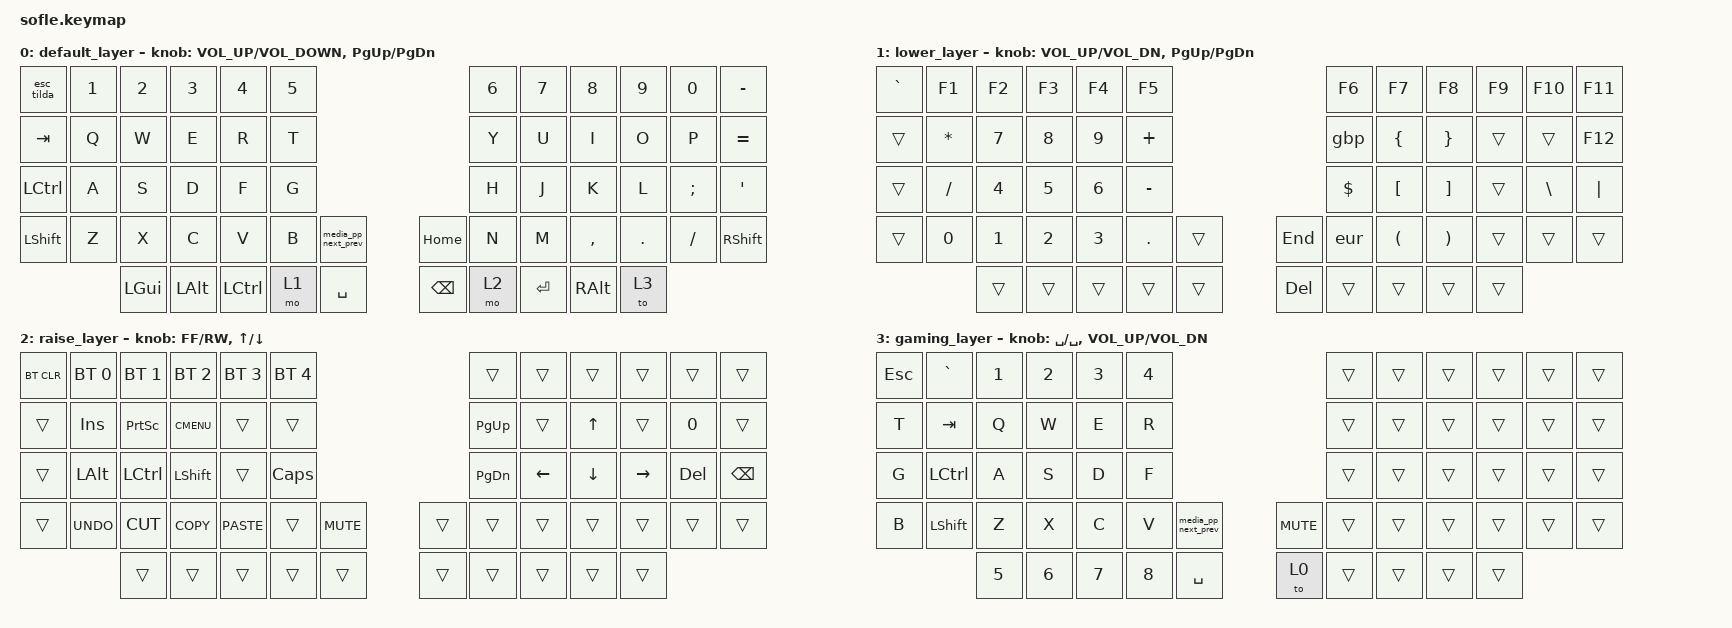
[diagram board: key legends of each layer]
#include <behaviors.dtsi>
#include <dt-bindings/zmk/bt.h>
#include <dt-bindings/zmk/keys.h>

#define BASE 0
#define LOWER 1
#define RAISE 2
#define GAMING_LAYER 3

/ {
    behaviors {
        media_pp_next_prev: media_pp_next_prev {
            compatible = "zmk,behavior-tap-dance";
            label = "MEDIA_PP_NEXT_PREV";
            #binding-cells = <0>;
            bindings = <&kp C_PP>, <&kp C_NEXT>, <&kp C_PREV>;
        };

        esc_tilda: esc_tilda {
            compatible = "zmk,behavior-mod-morph";
            label = "ESC_TILDA";
            bindings = <&kp ESC>, <&kp TILDE>;

            #binding-cells = <0>;
            mods = <(MOD_LSFT)>;
        };
    };

    combos {
        compatible = "zmk,combos";

        ALTF4 {
            bindings = <&kp LA(F4)>;
            key-positions = <0 51 0>;
        };
    };

    macros {
        gbp: gbp {
            compatible = "zmk,behavior-macro";
            #binding-cells = <0>;
            bindings =
                <&macro_press>,
                <&kp LALT>,
                <&macro_tap>,
                <&kp KP_N1 &kp KP_N5 &kp KP_N6>,
                <&macro_release>,
                <&kp LALT>;

            label = "GBP";
            wait-ms = <0>;
        };

        eur: eur {
            compatible = "zmk,behavior-macro";
            #binding-cells = <0>;
            bindings =
                <&macro_press>,
                <&kp LALT>,
                <&macro_tap>,
                <&kp KP_N0 &kp KP_NUMBER_1 &kp KP_NUMBER_2 &kp KP_N8>,
                <&macro_release>,
                <&kp LALT>;

            label = "EUR";
        };
    };

    keymap {
        compatible = "zmk,keymap";

        default_layer {
            // ------------------------------------------------------------------------------------------------------------
            // | ESC/~ |  1  |  2  |  3   |  4   |  5   |                   |  6   |  7    |  8    |  9   |   0   |   -   |
            // |  TAB  |  Q  |  W  |  E   |  R   |  T   |                   |  Y   |  U    |  I    |  O   |   P   |   =   |
            // | LCTRL |  A  |  S  |  D   |  F   |  G   |                   |  H   |  J    |  K    |  L   |   ;   |   '   |
            // | SHIFT |  Z  |  X  |  C   |  V   |  B   |  MEDIA |  | HOME  |  N   |  M    |  ,    |  .   |   /   | SHIFT |
            //               | GUI | ALT  | CTRL | LOWER|  SPACE |  | BKSPC | RAISE| ENTER | ALT   |GAMING|

            bindings = <
&esc_tilda  &kp N1  &kp N2    &kp N3    &kp N4     &kp N5                                   &kp N6  &kp N7   &kp N8     &kp N9   &kp N0    &kp MINUS
&kp TAB     &kp Q   &kp W     &kp E     &kp R      &kp T                                    &kp Y   &kp U    &kp I      &kp O    &kp P     &kp EQUAL
&kp LCTRL   &kp A   &kp S     &kp D     &kp F      &kp G                                    &kp H   &kp J    &kp K      &kp L    &kp SEMI  &kp SQT
&kp LSHFT   &kp Z   &kp X     &kp C     &kp V      &kp B   &media_pp_next_prev    &kp HOME  &kp N   &kp M    &kp COMMA  &kp DOT  &kp FSLH  &kp RSHFT
                    &kp LGUI  &kp LALT  &kp LCTRL  &mo 1   &kp SPACE              &kp BSPC  &mo 2   &kp RET  &kp RALT   &to 3
            >;

            sensor-bindings =
                <&inc_dec_kp C_VOLUME_UP C_VOLUME_DOWN>,
                <&inc_dec_kp PG_UP PG_DN>;
        };

        lower_layer {
            // TODO: Some binds are waiting for shifted keycode support.
            // ------------------------------------------------------------------------------------------------------------
            // |   `   |  F1 |  F2 |  F3  |  F4  |  F5  |                   |  F6  |  F7   |  F8   |  F9  |  F10  |  F11  |
            // |       |  *  |  7  |  8   |  9   |  +   |                   |  £   |   {   |   }   |      |       |  F12  |
            // |       |  /  |  4  |  5   |  6   |  -   |                   |  $   |   [   |   ]   |      |   \   |   |   |
            // |       |  0  |  1  |  2   |  3   |  .   |        |  |  END  |  €   |   (   |   )   |      |       |       |
            //               |     |      |      |      |        |  |  DEL  |      |       |       |      |

            bindings = <
&kp GRAVE  &kp F1     &kp F2  &kp F3  &kp F4  &kp F5                        &kp F6      &kp F7    &kp F8    &kp F9  &kp F10   &kp F11
&trans     &kp STAR   &kp N7  &kp N8  &kp N9  &kp PLUS                      &gbp        &kp LBRC  &kp RBRC  &trans  &trans    &kp F12
&trans     &kp SLASH  &kp N4  &kp N5  &kp N6  &kp MINUS                     &kp DOLLAR  &kp LBKT  &kp RBKT  &trans  &kp BSLH  &kp PIPE
&trans     &kp N0     &kp N1  &kp N2  &kp N3  &kp DOT    &trans    &kp END  &eur        &kp LPAR  &kp RPAR  &trans  &trans    &trans
                      &trans  &trans  &trans  &trans     &trans    &kp DEL  &trans      &trans    &trans    &trans
            >;

            sensor-bindings = <&inc_dec_kp C_VOL_UP C_VOL_DN &inc_dec_kp PG_UP PG_DN>;
        };

        raise_layer {
            // ------------------------------------------------------------------------------------------------------------
            // |BTCLR| BT1  | BT2  |  BT3  |  BT4  |  BT5 |                |      |      |       |      |       |       |
            // |     | INS  | PSCR | GUI   |       |      |                | PGUP |      |   ^   |      |   0   |       |
            // |     | ALT  | CTRL | SHIFT |       | CAPS |                | PGDN |   <- |   v   |  ->  |  DEL  | BKSPC |
            // |     | UNDO | CUT  | COPY  | PASTE |      | MUTE |  |      |      |      |       |      |       |       |
            //              |      |       |       |      |      |  |      |      |      |       |      |

            bindings = <
&bt BT_CLR  &bt BT_SEL 0  &bt BT_SEL 1  &bt BT_SEL 2  &bt BT_SEL 3  &bt BT_SEL 4                        &trans     &trans    &trans    &trans     &trans   &trans
&trans      &kp INS       &kp PSCRN     &kp K_CMENU   &trans        &trans                              &kp PG_UP  &trans    &kp UP    &trans     &kp N0   &trans
&trans      &kp LALT      &kp LCTRL     &kp LSHFT     &trans        &kp CLCK                            &kp PG_DN  &kp LEFT  &kp DOWN  &kp RIGHT  &kp DEL  &kp BSPC
&trans      &kp K_UNDO    &kp K_CUT     &kp K_COPY    &kp K_PASTE   &trans        &kp C_MUTE    &trans  &trans     &trans    &trans    &trans     &trans   &trans
                          &trans        &trans        &trans        &trans        &trans        &trans  &trans     &trans    &trans    &trans
            >;

            sensor-bindings = <&inc_dec_kp C_FF C_RW>, <&inc_dec_kp UP DOWN>;
        };

        // ------------------------------------------------------------------------------------------------------------
        // | ESC  |   `   |   1   |   2   |   3   |   4   |                |      |      |       |      |       |       |
        // |  T   |  TAB  |   Q   |   W   |   E   |   R   |                |      |      |       |      |       |       |
        // |  G   | CTRL  |   A   |   S   |   D   |   F   |                |      |      |       |      |       |       |
        // |  B   | SHIFT |   Z   |   X   |   C   |   V   | MEDIA | | MUTE |      |      |       |      |       |       |
        //                |   5   |   6   |   7   |   8   | SPACE | |LAYER0|      |      |       |      |

        gaming_layer {
            bindings = <
&kp ESC  &kp GRAVE  &kp N1  &kp N2  &kp N3  &kp N4                                     &trans  &trans  &trans  &trans  &trans  &trans
&kp T    &kp TAB    &kp Q   &kp W   &kp E   &kp R                                      &trans  &trans  &trans  &trans  &trans  &trans
&kp G    &kp LCTRL  &kp A   &kp S   &kp D   &kp F                                      &trans  &trans  &trans  &trans  &trans  &trans
&kp B    &kp LSHFT  &kp Z   &kp X   &kp C   &kp V   &media_pp_next_prev    &kp C_MUTE  &trans  &trans  &trans  &trans  &trans  &trans
                    &kp N5  &kp N6  &kp N7  &kp N8 &kp SPACE                 &to 0       &trans  &trans  &trans  &trans
            >;

            sensor-bindings =
                <&inc_dec_kp SPACE SPACE>,
                <&inc_dec_kp C_VOL_UP C_VOL_DN>;
        };
    };
};
